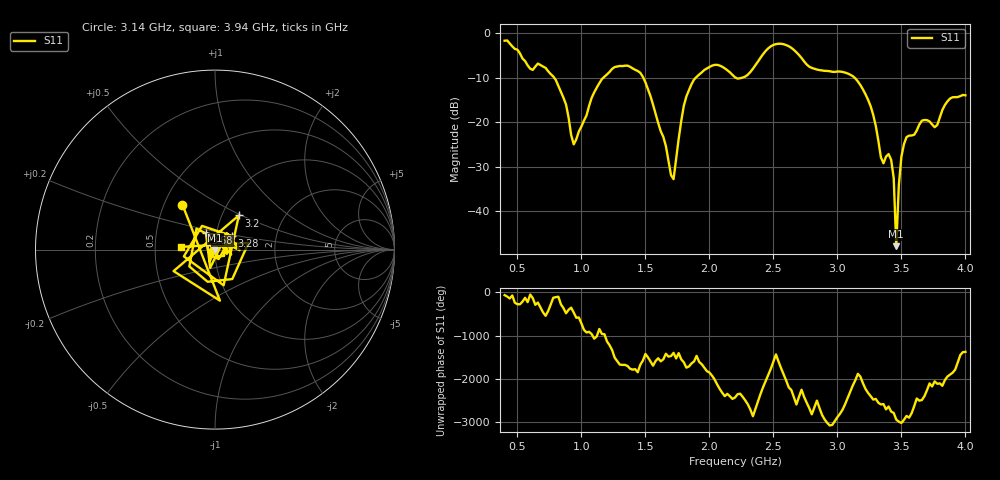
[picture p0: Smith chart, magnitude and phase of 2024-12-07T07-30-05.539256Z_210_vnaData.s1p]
!Created with skrf (http://scikit-rf.org).
# Hz S RI R 50.0
!freq ReS11 ImS11
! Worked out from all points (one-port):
!   181 points, 400 MHz to 4 GHz, reference 50 ohm
!   lowest |S11| = -47.8 dB at 3.46 GHz (marker M1), VSWR 1.01, Z = 50.2 - j0.371 ohm
!   |S11| at or under -10 dB: 786.2 MHz to 1.173 GHz (386.4 MHz wide, 39.5 % of centre); 1.483 GHz to 1.895 GHz (412.2 MHz wide, 24.4 % of centre); 3.133 GHz to end of sweep (the widest 3 of 4)
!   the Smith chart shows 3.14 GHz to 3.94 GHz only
!   S11 on the Smith chart (normalised r, x): 3.14 GHz: 0.62, +0.34; 3.2 GHz: 1.20, +0.48; 3.28 GHz: 1.19, +0.19; 3.68 GHz: 0.89, +0.17; 3.94 GHz: 0.68, +0.02
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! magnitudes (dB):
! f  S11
! 400 MHz  -1.7
! 860 MHz  -14.5
! 940 MHz  -25.0
! 1.14 GHz  -11.3
! 1.3 GHz  -7.4
! 1.48 GHz  -9.8
! 1.72 GHz  -32.8
! 1.76 GHz  -23.7
! 1.88 GHz  -10.4
! 2.04 GHz  -7.2
! 2.2 GHz  -10.0
! 2.5 GHz  -2.7
! 2.66 GHz  -3.8
! 3.1 GHz  -9.4
! 3.14 GHz  -10.2
! 3.2 GHz  -12.7
! 3.28 GHz  -18.4
! 3.34 GHz  -27.9
! 3.42 GHz  -28.4
! 3.44 GHz  -32.5
! 3.46 GHz  -47.8
! 3.48 GHz  -34.1
! 3.5 GHz  -27.7
! 3.56 GHz  -23.0
! 3.68 GHz  -19.5
! 3.76 GHz  -21.1
! 3.94 GHz  -14.4
! 4 GHz  -14.0
